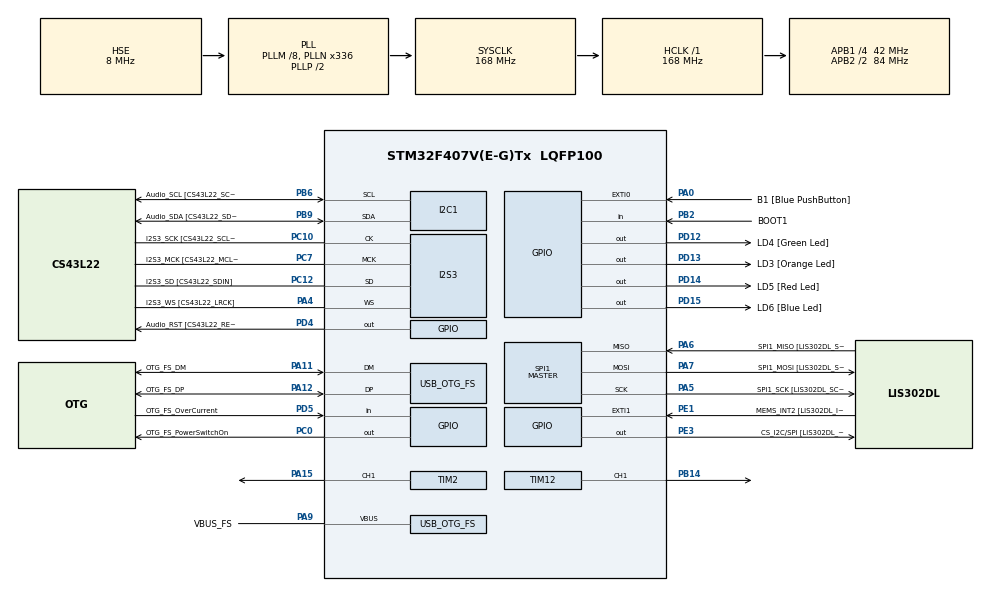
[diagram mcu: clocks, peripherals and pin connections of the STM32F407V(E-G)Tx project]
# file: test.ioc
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I2S3.AudioFreq-Half_Duplex_Master=I2S_AUDIOFREQ_96K
I2S3.ErrorAudioFreq=-2.34 %
I2S3.ErrorAudioFreq-Half_Duplex_Master=0.8 %
I2S3.FullDuplexMode=I2S_FULLDUPLEXMODE_DISABLE
I2S3.Instance=SPI$Index
I2S3.RealAudioFreq=93.75 KHz
I2S3.RealAudioFreq-Half_Duplex_Master=96.774 KHz
I2S3.VirtualMode=I2S_MODE_MASTER
Mcu.Family=STM32F4
Mcu.Name=STM32F407V(E-G)Tx
Mcu.Package=LQFP100
NVIC.OTG_FS_IRQn=true\:0\:0\:false\:false\:true\:true\:true\:true
NVIC.PriorityGroup=NVIC_PRIORITYGROUP_0
PA0-WKUP.GPIO_Label=B1 [Blue PushButton]
PA0-WKUP.GPIO_ModeDefaultEXTI=GPIO_MODE_EVT_RISING
PA0-WKUP.GPIO_PuPd=GPIO_NOPULL
PA0-WKUP.Signal=GPXTI0
PA10.GPIO_Label=OTG_FS_ID
PA10.GPIO_Mode=GPIO_MODE_AF_PP
PA10.GPIO_PuPd=GPIO_NOPULL
PA10.GPIO_Speed=GPIO_SPEED_FREQ_LOW
PA10.Signal=USB_OTG_FS_ID
PA11.GPIO_Label=OTG_FS_DM
PA11.GPIO_Mode=GPIO_MODE_AF_PP
PA11.GPIO_PuPd=GPIO_NOPULL
PA11.GPIO_Speed=GPIO_SPEED_FREQ_LOW
PA11.Mode=Host_Only
PA11.Signal=USB_OTG_FS_DM
PA12.GPIO_Label=OTG_FS_DP
PA12.GPIO_Mode=GPIO_MODE_AF_PP
PA12.GPIO_PuPd=GPIO_NOPULL
PA12.GPIO_Speed=GPIO_SPEED_FREQ_LOW
PA12.Mode=Host_Only
PA12.Signal=USB_OTG_FS_DP
PA13.GPIO_Label=SWDIO
PA13.Mode=Serial_Wire
PA13.Signal=SYS_JTMS-SWDIO
PA14.GPIO_Label=SWCLK
PA14.Mode=Serial_Wire
PA14.Signal=SYS_JTCK-SWCLK
PA15.Signal=S_TIM2_CH1_ETR
PA4.GPIO_Label=I2S3_WS [CS43L22_LRCK]
PA4.GPIO_Mode=GPIO_MODE_AF_PP
PA4.GPIO_PuPd=GPIO_NOPULL
PA4.GPIO_Speed=GPIO_SPEED_FREQ_LOW
PA4.Mode=Half_Duplex_Master
PA4.Signal=I2S3_WS
PA5.GPIO_Label=SPI1_SCK [LIS302DL_SCL/SPC]
PA5.GPIO_Mode=GPIO_MODE_AF_PP
PA5.GPIO_PuPd=GPIO_NOPULL
PA5.GPIO_Speed=GPIO_SPEED_FREQ_LOW
PA5.Mode=Full_Duplex_Master
PA5.Signal=SPI1_SCK
PA6.GPIO_Label=SPI1_MISO [LIS302DL_SDO]
PA6.GPIO_Mode=GPIO_MODE_AF_PP
PA6.GPIO_PuPd=GPIO_NOPULL
PA6.GPIO_Speed=GPIO_SPEED_FREQ_LOW
PA6.Mode=Full_Duplex_Master
PA6.Signal=SPI1_MISO
PA7.GPIO_Label=SPI1_MOSI [LIS302DL_SDA/SDI/SDO]
PA7.GPIO_Mode=GPIO_MODE_AF_PP
PA7.GPIO_PuPd=GPIO_NOPULL
PA7.GPIO_Speed=GPIO_SPEED_FREQ_LOW
PA7.Mode=Full_Duplex_Master
PA7.Signal=SPI1_MOSI
PA9.GPIO_Label=VBUS_FS
PA9.GPIO_Mode=GPIO_MODE_INPUT
PA9.GPIO_PuPd=GPIO_NOPULL
PA9.Mode=Activate_VBUS
PA9.Signal=USB_OTG_FS_VBUS
PB10.GPIO_Label=CLK_IN [MP45DT02_CLK]
PB10.GPIO_Mode=GPIO_MODE_AF_PP
PB10.GPIO_PuPd=GPIO_NOPULL
PB10.GPIO_Speed=GPIO_SPEED_FREQ_LOW
PB10.Signal=I2S2_CK
PB14.Signal=S_TIM12_CH1
PB2.GPIO_Label=BOOT1
PB2.GPIO_Mode=GPIO_MODE_INPUT
PB2.GPIO_PuPd=GPIO_NOPULL
PB2.Signal=GPIO_Input
PB3.GPIO_Label=SWO
PB3.Signal=SYS_JTDO-SWO
PB6.GPIO_Label=Audio_SCL [CS43L22_SCL]
PB6.GPIO_Mode=GPIO_MODE_AF_OD
PB6.GPIO_Pu=GPIO_PULLUP
PB6.GPIO_PuPd=GPIO_NOPULL
PB6.GPIO_Speed=GPIO_SPEED_FREQ_LOW
PB6.Mode=I2C
PB6.Signal=I2C1_SCL
PB9.GPIO_Label=Audio_SDA [CS43L22_SDA]
PB9.GPIO_Mode=GPIO_MODE_AF_OD
PB9.GPIO_Pu=GPIO_PULLUP
PB9.GPIO_PuPd=GPIO_NOPULL
PB9.GPIO_Speed=GPIO_SPEED_FREQ_LOW
PB9.Mode=I2C
PB9.Signal=I2C1_SDA
PC0.GPIO_Label=OTG_FS_PowerSwitchOn
PC0.GPIO_PuPd=GPIO_NOPULL
PC0.GPIO_Speed=GPIO_SPEED_FREQ_LOW
PC0.PinState=GPIO_PIN_SET
PC0.Signal=GPIO_Output
PC10.GPIO_Label=I2S3_SCK [CS43L22_SCLK]
PC10.GPIO_Mode=GPIO_MODE_AF_PP
PC10.GPIO_PuPd=GPIO_NOPULL
PC10.GPIO_Speed=GPIO_SPEED_FREQ_LOW
PC10.Mode=Half_Duplex_Master
PC10.Signal=I2S3_CK
PC12.GPIO_Label=I2S3_SD [CS43L22_SDIN]
PC12.GPIO_Mode=GPIO_MODE_AF_PP
PC12.GPIO_PuPd=GPIO_NOPULL
PC12.GPIO_Speed=GPIO_SPEED_FREQ_LOW
PC12.Mode=Half_Duplex_Master
PC12.Signal=I2S3_SD
PC14-OSC32_IN.GPIO_Label=PC14-OSC32_IN
PC14-OSC32_IN.Mode=LSE-External-Oscillator
PC14-OSC32_IN.Signal=RCC_OSC32_IN
PC15-OSC32_OUT.GPIO_Label=PC15-OSC32_OUT
PC15-OSC32_OUT.Mode=LSE-External-Oscillator
PC15-OSC32_OUT.Signal=RCC_OSC32_OUT
PC3.GPIO_Label=PDM_OUT [MP45DT02_DOUT]
PC3.GPIO_Mode=GPIO_MODE_AF_PP
PC3.GPIO_PuPd=GPIO_NOPULL
PC3.GPIO_Speed=GPIO_SPEED_FREQ_LOW
PC3.Signal=I2S2_SD
PC7.GPIO_Label=I2S3_MCK [CS43L22_MCLK]
PC7.GPIO_Mode=GPIO_MODE_AF_PP
PC7.GPIO_PuPd=GPIO_NOPULL
PC7.GPIO_Speed=GPIO_SPEED_FREQ_LOW
PC7.Mode=Master_Clock_Activated
PC7.Signal=I2S3_MCK
PD12.GPIO_Label=LD4 [Green Led]
PD12.GPIO_PuPd=GPIO_NOPULL
PD12.GPIO_Speed=GPIO_SPEED_FREQ_LOW
PD12.Signal=GPIO_Output
PD13.GPIO_Label=LD3 [Orange Led]
PD13.GPIO_PuPd=GPIO_NOPULL
PD13.GPIO_Speed=GPIO_SPEED_FREQ_LOW
PD13.Signal=GPIO_Output
PD14.GPIO_Label=LD5 [Red Led]
PD14.GPIO_PuPd=GPIO_NOPULL
PD14.GPIO_Speed=GPIO_SPEED_FREQ_LOW
PD14.Signal=GPIO_Output
PD15.GPIO_Label=LD6 [Blue Led]
PD15.GPIO_PuPd=GPIO_NOPULL
PD15.GPIO_Speed=GPIO_SPEED_FREQ_LOW
PD15.Signal=GPIO_Output
PD4.GPIO_Label=Audio_RST [CS43L22_RESET]
PD4.GPIO_PuPd=GPIO_NOPULL
PD4.GPIO_Speed=GPIO_SPEED_FREQ_LOW
PD4.Signal=GPIO_Output
PD5.GPIO_Label=OTG_FS_OverCurrent
PD5.GPIO_Mode=GPIO_MODE_INPUT
PD5.GPIO_PuPd=GPIO_NOPULL
PD5.Signal=GPIO_Input
PE1.GPIO_Label=MEMS_INT2 [LIS302DL_INT2]
PE1.GPIO_ModeDefaultEXTI=GPIO_MODE_EVT_RISING
PE1.GPIO_PuPd=GPIO_NOPULL
PE1.Signal=GPXTI1
PE3.GPIO_Label=CS_I2C/SPI [LIS302DL_CS_I2C/SPI]
PE3.GPIO_PuPd=GPIO_NOPULL
PE3.GPIO_Speed=GPIO_SPEED_FREQ_LOW
PE3.Signal=GPIO_Output
PH0-OSC_IN.GPIO_Label=PH0-OSC_IN
PH0-OSC_IN.Mode=HSE-External-Oscillator
PH0-OSC_IN.Signal=RCC_OSC_IN
PH1-OSC_OUT.GPIO_Label=PH1-OSC_OUT
PH1-OSC_OUT.Mode=HSE-External-Oscillator
PH1-OSC_OUT.Signal=RCC_OSC_OUT
ProjectManager.HeapSize=0x200
ProjectManager.StackSize=0x400
ProjectManager.TargetToolchain=STM32CubeIDE
RCC.48MHZClocksFreq_Value=48000000
RCC.AHBFreq_Value=168000000
RCC.APB1CLKDivider=RCC_HCLK_DIV4
RCC.APB1Freq_Value=42000000
RCC.APB1TimFreq_Value=84000000
RCC.APB2CLKDivider=RCC_HCLK_DIV2
RCC.APB2Freq_Value=84000000
RCC.APB2TimFreq_Value=168000000
RCC.CortexFreq_Value=168000000
RCC.HCLKFreq_Value=168000000
RCC.HSE_VALUE=8000000
RCC.HSI_VALUE=16000000
RCC.PLLM=8
RCC.PLLN=336
RCC.PLLQ=7
RCC.SYSCLKFreq_VALUE=168000000
RCC.SYSCLKSource=RCC_SYSCLKSOURCE_PLLCLK
RCC.VCOOutputFreq_Value=336000000
SH.S_TIM12_CH1.0=TIM12_CH1,PWM Generation1 CH1
SH.S_TIM2_CH1_ETR.0=TIM2_CH1,PWM Generation1 CH1
SPI1.BaudRatePrescaler-Full_Duplex_Master=SPI_BAUDRATEPRESCALER_2
SPI1.CalculateBaudRate-Full_Duplex_Master=42.0 MBits/s
SPI1.Direction=SPI_DIRECTION_2LINES
SPI1.Mode=SPI_MODE_MASTER
SPI1.Mode-Full_Duplex_Master=SPI_MODE_MASTER
SPI1.VirtualType=VM_MASTER
TIM12.Channel-PWM\ Generation1\ CH1=TIM_CHANNEL_1
TIM12.Period=19999
TIM12.Prescaler=83
TIM2.Channel-PWM\ Generation1\ CH1=TIM_CHANNEL_1
TIM2.Period=4199
TIM3.Channel-PWM\ Generation1\ No\ Output=TIM_CHANNEL_1
USB_HOST.BSP.number=1
USB_HOST.USBH_HandleTypeDef-CDC_FS=hUsbHostFS
USB_HOST.VirtualModeFS=Cdc
USB_HOST0.BSP.STBoard=false
USB_HOST0.BSP.api=Unknown
USB_HOST0.BSP.instance=PC0
USB_HOST0.BSP.ip=GPIO
USB_HOST0.BSP.mode=Output
USB_HOST0.BSP.name=Drive_VBUS_FS
USB_HOST0.BSP.solution=PC0
USB_OTG_FS.VirtualMode=Host_Only
USB_OTG_FS.phy_itface=HCD_PHY_EMBEDDED
VP_TIM3_VS_ClockSourceINT.Mode=Internal
VP_TIM3_VS_no_output1.Mode=PWM Generation1 No Output
VP_USB_HOST_VS_USB_HOST_CDC_FS.Mode=CDC_FS
board=STM32F407G-DISC1

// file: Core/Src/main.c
/* USER CODE BEGIN Header */
/**
  ******************************************************************************
  * @file           : main.c
  * @brief          : Main program body
  ******************************************************************************
  * @attention
  *
  * Copyright (c) 2026 STMicroelectronics.
  * All rights reserved.
  *
  * This software is licensed under terms that can be found in the LICENSE file
  * in the root directory of this software component.
  * If no LICENSE file comes with this software, it is provided AS-IS.
  *
  ******************************************************************************
  */
/* USER CODE END Header */
#include "main.h"
#include "usb_host.h"

/* USER CODE BEGIN Includes */
#include <stdio.h>
/* USER CODE END Includes */

I2C_HandleTypeDef hi2c1;

I2S_HandleTypeDef hi2s3;

SPI_HandleTypeDef hspi1;

TIM_HandleTypeDef htim2;
TIM_HandleTypeDef htim3;
TIM_HandleTypeDef htim12;

void SystemClock_Config(void);
static void MX_GPIO_Init(void);
static void MX_I2C1_Init(void);
static void MX_I2S3_Init(void);
static void MX_SPI1_Init(void);
static void MX_TIM2_Init(void);
static void MX_TIM3_Init(void);
static void MX_TIM12_Init(void);
void MX_USB_HOST_Process(void);

/* USER CODE BEGIN PFP */
void ResetReason();
/* USER CODE END PFP */

int main(void)
{

  /* MCU Configuration--------------------------------------------------------*/

  /* Reset of all peripherals, Initializes the Flash interface and the Systick. */
  HAL_Init();

  /* Configure the system clock */
  SystemClock_Config();

  /* Initialize all configured peripherals */
  MX_GPIO_Init();
  MX_I2C1_Init();
  MX_I2S3_Init();
  MX_SPI1_Init();
  MX_USB_HOST_Init();
  MX_TIM2_Init();
  MX_TIM3_Init();
  MX_TIM12_Init();
  /* USER CODE BEGIN 2 */
  HAL_TIM_PWM_Start(&htim2, TIM_CHANNEL_1);
  /* USER CODE END 2 */

  /* Infinite loop */
  /* USER CODE BEGIN WHILE */
  printf("STM32 READY\n");
  while (1)
  {
    /* USER CODE END WHILE */
    MX_USB_HOST_Process();

    /* USER CODE BEGIN 3 */
    int i = 0;
     for(i = 0; i < 4200; i++){
    	 __HAL_TIM_SET_COMPARE(&htim2, TIM_CHANNEL_1, i);
    	 HAL_Delay(10);
     }

     HAL_Delay(500);

     for(;i > 0; i--){
    	 __HAL_TIM_SET_COMPARE(&htim2, TIM_CHANNEL_1, i);
    	 HAL_Delay(10);
     }

     HAL_Delay(500);
  }
  /* USER CODE END 3 */
}

void SystemClock_Config(void)
{
  RCC_OscInitTypeDef RCC_OscInitStruct = {0};
  RCC_ClkInitTypeDef RCC_ClkInitStruct = {0};

  /** Configure the main internal regulator output voltage
  */
  __HAL_RCC_PWR_CLK_ENABLE();
  __HAL_PWR_VOLTAGESCALING_CONFIG(PWR_REGULATOR_VOLTAGE_SCALE1);

  /** Initializes the RCC Oscillators according to the specified parameters
  * in the RCC_OscInitTypeDef structure.
  */
  RCC_OscInitStruct.OscillatorType = RCC_OSCILLATORTYPE_HSE;
  RCC_OscInitStruct.HSEState = RCC_HSE_ON;
  RCC_OscInitStruct.PLL.PLLState = RCC_PLL_ON;
  RCC_OscInitStruct.PLL.PLLSource = RCC_PLLSOURCE_HSE;
  RCC_OscInitStruct.PLL.PLLM = 8;
  RCC_OscInitStruct.PLL.PLLN = 336;
  RCC_OscInitStruct.PLL.PLLP = RCC_PLLP_DIV2;
  RCC_OscInitStruct.PLL.PLLQ = 7;
  if (HAL_RCC_OscConfig(&RCC_OscInitStruct) != HAL_OK)
  {
    Error_Handler();
  }

  /** Initializes the CPU, AHB and APB buses clocks
  */
  RCC_ClkInitStruct.ClockType = RCC_CLOCKTYPE_HCLK|RCC_CLOCKTYPE_SYSCLK
                              |RCC_CLOCKTYPE_PCLK1|RCC_CLOCKTYPE_PCLK2;
  RCC_ClkInitStruct.SYSCLKSource = RCC_SYSCLKSOURCE_PLLCLK;
  RCC_ClkInitStruct.AHBCLKDivider = RCC_SYSCLK_DIV1;
  RCC_ClkInitStruct.APB1CLKDivider = RCC_HCLK_DIV4;
  RCC_ClkInitStruct.APB2CLKDivider = RCC_HCLK_DIV2;

  if (HAL_RCC_ClockConfig(&RCC_ClkInitStruct, FLASH_LATENCY_5) != HAL_OK)
  {
    Error_Handler();
  }
}

static void MX_I2C1_Init(void)
{

  hi2c1.Instance = I2C1;
  hi2c1.Init.ClockSpeed = 100000;
  hi2c1.Init.DutyCycle = I2C_DUTYCYCLE_2;
  hi2c1.Init.OwnAddress1 = 0;
  hi2c1.Init.AddressingMode = I2C_ADDRESSINGMODE_7BIT;
  hi2c1.Init.DualAddressMode = I2C_DUALADDRESS_DISABLE;
  hi2c1.Init.OwnAddress2 = 0;
  hi2c1.Init.GeneralCallMode = I2C_GENERALCALL_DISABLE;
  hi2c1.Init.NoStretchMode = I2C_NOSTRETCH_DISABLE;
  if (HAL_I2C_Init(&hi2c1) != HAL_OK)
  {
    Error_Handler();
  }

}

static void MX_I2S3_Init(void)
{

  hi2s3.Instance = SPI3;
  hi2s3.Init.Mode = I2S_MODE_MASTER_TX;
  hi2s3.Init.Standard = I2S_STANDARD_PHILIPS;
  hi2s3.Init.DataFormat = I2S_DATAFORMAT_16B;
  hi2s3.Init.MCLKOutput = I2S_MCLKOUTPUT_ENABLE;
  hi2s3.Init.AudioFreq = I2S_AUDIOFREQ_96K;
  hi2s3.Init.CPOL = I2S_CPOL_LOW;
  hi2s3.Init.ClockSource = I2S_CLOCK_PLL;
  hi2s3.Init.FullDuplexMode = I2S_FULLDUPLEXMODE_DISABLE;
  if (HAL_I2S_Init(&hi2s3) != HAL_OK)
  {
    Error_Handler();
  }

}

static void MX_SPI1_Init(void)
{

  /* SPI1 parameter configuration*/
  hspi1.Instance = SPI1;
  hspi1.Init.Mode = SPI_MODE_MASTER;
  hspi1.Init.Direction = SPI_DIRECTION_2LINES;
  hspi1.Init.DataSize = SPI_DATASIZE_8BIT;
  hspi1.Init.CLKPolarity = SPI_POLARITY_LOW;
  hspi1.Init.CLKPhase = SPI_PHASE_1EDGE;
  hspi1.Init.NSS = SPI_NSS_SOFT;
  hspi1.Init.BaudRatePrescaler = SPI_BAUDRATEPRESCALER_2;
  hspi1.Init.FirstBit = SPI_FIRSTBIT_MSB;
  hspi1.Init.TIMode = SPI_TIMODE_DISABLE;
  hspi1.Init.CRCCalculation = SPI_CRCCALCULATION_DISABLE;
  hspi1.Init.CRCPolynomial = 10;
  if (HAL_SPI_Init(&hspi1) != HAL_OK)
  {
    Error_Handler();
  }

}

static void MX_TIM2_Init(void)
{

  TIM_MasterConfigTypeDef sMasterConfig = {0};
  TIM_OC_InitTypeDef sConfigOC = {0};

  htim2.Instance = TIM2;
  htim2.Init.Prescaler = 0;
  htim2.Init.CounterMode = TIM_COUNTERMODE_UP;
  htim2.Init.Period = 4199;
  htim2.Init.ClockDivision = TIM_CLOCKDIVISION_DIV1;
  htim2.Init.AutoReloadPreload = TIM_AUTORELOAD_PRELOAD_DISABLE;
  if (HAL_TIM_PWM_Init(&htim2) != HAL_OK)
  {
    Error_Handler();
  }
  sMasterConfig.MasterOutputTrigger = TIM_TRGO_RESET;
  sMasterConfig.MasterSlaveMode = TIM_MASTERSLAVEMODE_DISABLE;
  if (HAL_TIMEx_MasterConfigSynchronization(&htim2, &sMasterConfig) != HAL_OK)
  {
    Error_Handler();
  }
  sConfigOC.OCMode = TIM_OCMODE_PWM1;
  sConfigOC.Pulse = 0;
  sConfigOC.OCPolarity = TIM_OCPOLARITY_HIGH;
  sConfigOC.OCFastMode = TIM_OCFAST_DISABLE;
  if (HAL_TIM_PWM_ConfigChannel(&htim2, &sConfigOC, TIM_CHANNEL_1) != HAL_OK)
  {
    Error_Handler();
  }
  HAL_TIM_MspPostInit(&htim2);

}

static void MX_TIM3_Init(void)
{

  TIM_ClockConfigTypeDef sClockSourceConfig = {0};
  TIM_MasterConfigTypeDef sMasterConfig = {0};
  TIM_OC_InitTypeDef sConfigOC = {0};

  htim3.Instance = TIM3;
  htim3.Init.Prescaler = 0;
  htim3.Init.CounterMode = TIM_COUNTERMODE_UP;
  htim3.Init.Period = 65535;
  htim3.Init.ClockDivision = TIM_CLOCKDIVISION_DIV1;
  htim3.Init.AutoReloadPreload = TIM_AUTORELOAD_PRELOAD_DISABLE;
  if (HAL_TIM_Base_Init(&htim3) != HAL_OK)
  {
    Error_Handler();
  }
  sClockSourceConfig.ClockSource = TIM_CLOCKSOURCE_INTERNAL;
  if (HAL_TIM_ConfigClockSource(&htim3, &sClockSourceConfig) != HAL_OK)
  {
    Error_Handler();
  }
  if (HAL_TIM_PWM_Init(&htim3) != HAL_OK)
  {
    Error_Handler();
  }
  sMasterConfig.MasterOutputTrigger = TIM_TRGO_RESET;
  sMasterConfig.MasterSlaveMode = TIM_MASTERSLAVEMODE_DISABLE;
  if (HAL_TIMEx_MasterConfigSynchronization(&htim3, &sMasterConfig) != HAL_OK)
  {
    Error_Handler();
  }
  sConfigOC.OCMode = TIM_OCMODE_PWM1;
  sConfigOC.Pulse = 0;
  sConfigOC.OCPolarity = TIM_OCPOLARITY_HIGH;
  sConfigOC.OCFastMode = TIM_OCFAST_DISABLE;
  if (HAL_TIM_PWM_ConfigChannel(&htim3, &sConfigOC, TIM_CHANNEL_1) != HAL_OK)
  {
    Error_Handler();
  }

}

static void MX_TIM12_Init(void)
{

  TIM_OC_InitTypeDef sConfigOC = {0};

  htim12.Instance = TIM12;
  htim12.Init.Prescaler = 83;
  htim12.Init.CounterMode = TIM_COUNTERMODE_UP;
  htim12.Init.Period = 19999;
  htim12.Init.ClockDivision = TIM_CLOCKDIVISION_DIV1;
  htim12.Init.AutoReloadPreload = TIM_AUTORELOAD_PRELOAD_DISABLE;
  if (HAL_TIM_PWM_Init(&htim12) != HAL_OK)
  {
    Error_Handler();
  }
  sConfigOC.OCMode = TIM_OCMODE_PWM1;
  sConfigOC.Pulse = 0;
  sConfigOC.OCPolarity = TIM_OCPOLARITY_HIGH;
  sConfigOC.OCFastMode = TIM_OCFAST_DISABLE;
  if (HAL_TIM_PWM_ConfigChannel(&htim12, &sConfigOC, TIM_CHANNEL_1) != HAL_OK)
  {
    Error_Handler();
  }
  HAL_TIM_MspPostInit(&htim12);

}

static void MX_GPIO_Init(void)
{
  GPIO_InitTypeDef GPIO_InitStruct = {0};

  /* GPIO Ports Clock Enable */
  __HAL_RCC_GPIOE_CLK_ENABLE();
  __HAL_RCC_GPIOC_CLK_ENABLE();
  __HAL_RCC_GPIOH_CLK_ENABLE();
  __HAL_RCC_GPIOA_CLK_ENABLE();
  __HAL_RCC_GPIOB_CLK_ENABLE();
  __HAL_RCC_GPIOD_CLK_ENABLE();

  /*Configure GPIO pin Output Level */
  HAL_GPIO_WritePin(CS_I2C_SPI_GPIO_Port, CS_I2C_SPI_Pin, GPIO_PIN_RESET);

  /*Configure GPIO pin Output Level */
  HAL_GPIO_WritePin(OTG_FS_PowerSwitchOn_GPIO_Port, OTG_FS_PowerSwitchOn_Pin, GPIO_PIN_SET);

  /*Configure GPIO pin Output Level */
  HAL_GPIO_WritePin(GPIOD, LD4_Pin|LD3_Pin|LD5_Pin|LD6_Pin
                          |Audio_RST_Pin, GPIO_PIN_RESET);

  /*Configure GPIO pin : CS_I2C_SPI_Pin */
  GPIO_InitStruct.Pin = CS_I2C_SPI_Pin;
  GPIO_InitStruct.Mode = GPIO_MODE_OUTPUT_PP;
  GPIO_InitStruct.Pull = GPIO_NOPULL;
  GPIO_InitStruct.Speed = GPIO_SPEED_FREQ_LOW;
  HAL_GPIO_Init(CS_I2C_SPI_GPIO_Port, &GPIO_InitStruct);

  /*Configure GPIO pin : OTG_FS_PowerSwitchOn_Pin */
  GPIO_InitStruct.Pin = OTG_FS_PowerSwitchOn_Pin;
  GPIO_InitStruct.Mode = GPIO_MODE_OUTPUT_PP;
  GPIO_InitStruct.Pull = GPIO_NOPULL;
  GPIO_InitStruct.Speed = GPIO_SPEED_FREQ_LOW;
  HAL_GPIO_Init(OTG_FS_PowerSwitchOn_GPIO_Port, &GPIO_InitStruct);

  /*Configure GPIO pin : PDM_OUT_Pin */
  GPIO_InitStruct.Pin = PDM_OUT_Pin;
  GPIO_InitStruct.Mode = GPIO_MODE_AF_PP;
  GPIO_InitStruct.Pull = GPIO_NOPULL;
  GPIO_InitStruct.Speed = GPIO_SPEED_FREQ_LOW;
  GPIO_InitStruct.Alternate = GPIO_AF5_SPI2;
  HAL_GPIO_Init(PDM_OUT_GPIO_Port, &GPIO_InitStruct);

  /*Configure GPIO pin : B1_Pin */
  GPIO_InitStruct.Pin = B1_Pin;
  GPIO_InitStruct.Mode = GPIO_MODE_EVT_RISING;
  GPIO_InitStruct.Pull = GPIO_NOPULL;
  HAL_GPIO_Init(B1_GPIO_Port, &GPIO_InitStruct);

  /*Configure GPIO pin : BOOT1_Pin */
  GPIO_InitStruct.Pin = BOOT1_Pin;
  GPIO_InitStruct.Mode = GPIO_MODE_INPUT;
  GPIO_InitStruct.Pull = GPIO_NOPULL;
  HAL_GPIO_Init(BOOT1_GPIO_Port, &GPIO_InitStruct);

  /*Configure GPIO pin : CLK_IN_Pin */
  GPIO_InitStruct.Pin = CLK_IN_Pin;
  GPIO_InitStruct.Mode = GPIO_MODE_AF_PP;
  GPIO_InitStruct.Pull = GPIO_NOPULL;
  GPIO_InitStruct.Speed = GPIO_SPEED_FREQ_LOW;
  GPIO_InitStruct.Alternate = GPIO_AF5_SPI2;
  HAL_GPIO_Init(CLK_IN_GPIO_Port, &GPIO_InitStruct);

  /*Configure GPIO pins : LD4_Pin LD3_Pin LD5_Pin LD6_Pin
                           Audio_RST_Pin */
  GPIO_InitStruct.Pin = LD4_Pin|LD3_Pin|LD5_Pin|LD6_Pin
                          |Audio_RST_Pin;
  GPIO_InitStruct.Mode = GPIO_MODE_OUTPUT_PP;
  GPIO_InitStruct.Pull = GPIO_NOPULL;
  GPIO_InitStruct.Speed = GPIO_SPEED_FREQ_LOW;
  HAL_GPIO_Init(GPIOD, &GPIO_InitStruct);

  /*Configure GPIO pin : OTG_FS_OverCurrent_Pin */
  GPIO_InitStruct.Pin = OTG_FS_OverCurrent_Pin;
  GPIO_InitStruct.Mode = GPIO_MODE_INPUT;
  GPIO_InitStruct.Pull = GPIO_NOPULL;
  HAL_GPIO_Init(OTG_FS_OverCurrent_GPIO_Port, &GPIO_InitStruct);

  /*Configure GPIO pin : MEMS_INT2_Pin */
  GPIO_InitStruct.Pin = MEMS_INT2_Pin;
  GPIO_InitStruct.Mode = GPIO_MODE_EVT_RISING;
  GPIO_InitStruct.Pull = GPIO_NOPULL;
  HAL_GPIO_Init(MEMS_INT2_GPIO_Port, &GPIO_InitStruct);

}

/* USER CODE BEGIN 4 */
void ResetReason(){
	if(__HAL_RCC_GET_FLAG(RCC_FLAG_BORRST)){
		printf("Brown Out Reset\n");
	}if(__HAL_RCC_GET_FLAG(RCC_FLAG_PINRST)){
		printf("Reset from the NRST pin occurs\n");
	}if(__HAL_RCC_GET_FLAG(RCC_FLAG_SFTRST)){
		printf("Software Reset\n");
	}if(__HAL_RCC_GET_FLAG(RCC_FLAG_IWDGRST)){
		printf("Independent Watchdog Reset\n");
	}if(__HAL_RCC_GET_FLAG(RCC_FLAG_WWDGRST)){
		printf("Window Watchdog Reset\n");
	}if(__HAL_RCC_GET_FLAG(RCC_FLAG_LPWRRST)){
		printf("Low Power Reset\n");
	}
}

/* USER CODE END 4 */

void Error_Handler(void)
{
  __disable_irq();
  while (1)
  {
  }
}
